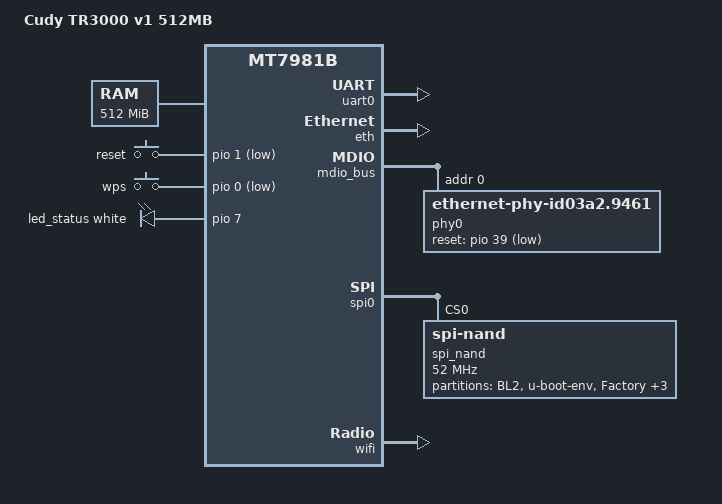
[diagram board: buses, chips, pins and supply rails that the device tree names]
/dts-v1/;
#include "mt7981b.dtsi"
#include <dt-bindings/gpio/gpio.h>
#include <dt-bindings/input/input.h>
#include <dt-bindings/leds/common.h>

/ {
	model = "Cudy TR3000 v1 512MB";
	compatible = "cudy,tr3000-v1", "mediatek,mt7981b";

	aliases {
		serial0 = &uart0;
		led-boot = &led_status;
		led-failsafe = &led_status;
		led-running = &led_status;
		led-upgrade = &led_status;
	};

	chosen {
		stdout-path = "serial0:115200n8";
	};

	memory@40000000 {
		device_type = "memory";
		reg = <0 0x40000000 0 0x20000000>; /* 512MB RAM */
	};

	keys {
		compatible = "gpio-keys";

		reset {
			label = "reset";
			gpios = <&pio 1 GPIO_ACTIVE_LOW>;
			linux,code = <KEY_RESTART>;
		};

		wps {
			label = "wps";
			gpios = <&pio 0 GPIO_ACTIVE_LOW>;
			linux,code = <KEY_WPS_BUTTON>;
		};
	};

	leds {
		compatible = "gpio-leds";

		led_status: status {
			function = LED_FUNCTION_STATUS;
			color = <LED_COLOR_ID_WHITE>;
			gpios = <&pio 7 GPIO_ACTIVE_HIGH>;
		};
	};
};

&uart0 {
	status = "okay";
};

&eth {
	status = "okay";

	gmac0: mac@0 {
		compatible = "mediatek,eth-mac";
		reg = <0>;
		phy-mode = "2500base-x";

		fixed-link {
			speed = <2500>;
			full-duplex;
			pause;
		};
	};

	gmac1: mac@1 {
		compatible = "mediatek,eth-mac";
		reg = <1>;
		phy-mode = "gmii";
		phy-handle = <&phy0>;
	};
};

&mdio_bus {
	phy0: ethernet-phy@0 {
		compatible = "ethernet-phy-id03a2.9461";
		reg = <0>;
		reset-gpios = <&pio 39 GPIO_ACTIVE_LOW>;
		reset-assert-us = <10000>;
		reset-deassert-us = <10000>;
	};
};

&spi0 {
	pinctrl-names = "default";
	pinctrl-0 = <&spi0_flash_pins>;
	status = "okay";

	spi_nand: flash@0 {
		compatible = "spi-nand";
		reg = <0>;
		spi-max-frequency = <52000000>;
		spi-tx-bus-width = <4>;
		spi-rx-bus-width = <4>;

		partitions {
			compatible = "fixed-partitions";
			#address-cells = <1>;
			#size-cells = <1>;

			partition@0 {
				label = "BL2";
				reg = <0x0000000 0x0100000>;
				read-only;
			};

			partition@100000 {
				label = "u-boot-env";
				reg = <0x0100000 0x0080000>;
			};

			partition@180000 {
				label = "Factory";
				reg = <0x0180000 0x0200000>;
				read-only;
			};

			partition@380000 {
				label = "bdinfo";
				reg = <0x0380000 0x0040000>;
				read-only;
			};

			partition@3c0000 {
				label = "FIP";
				reg = <0x03c0000 0x0200000>;
				read-only;
			};

			partition@5c0000 {
				label = "ubi";
				reg = <0x05c0000 0x1da40000>;
			};
		};
	};
};

&wifi {
	status = "okay";
};
